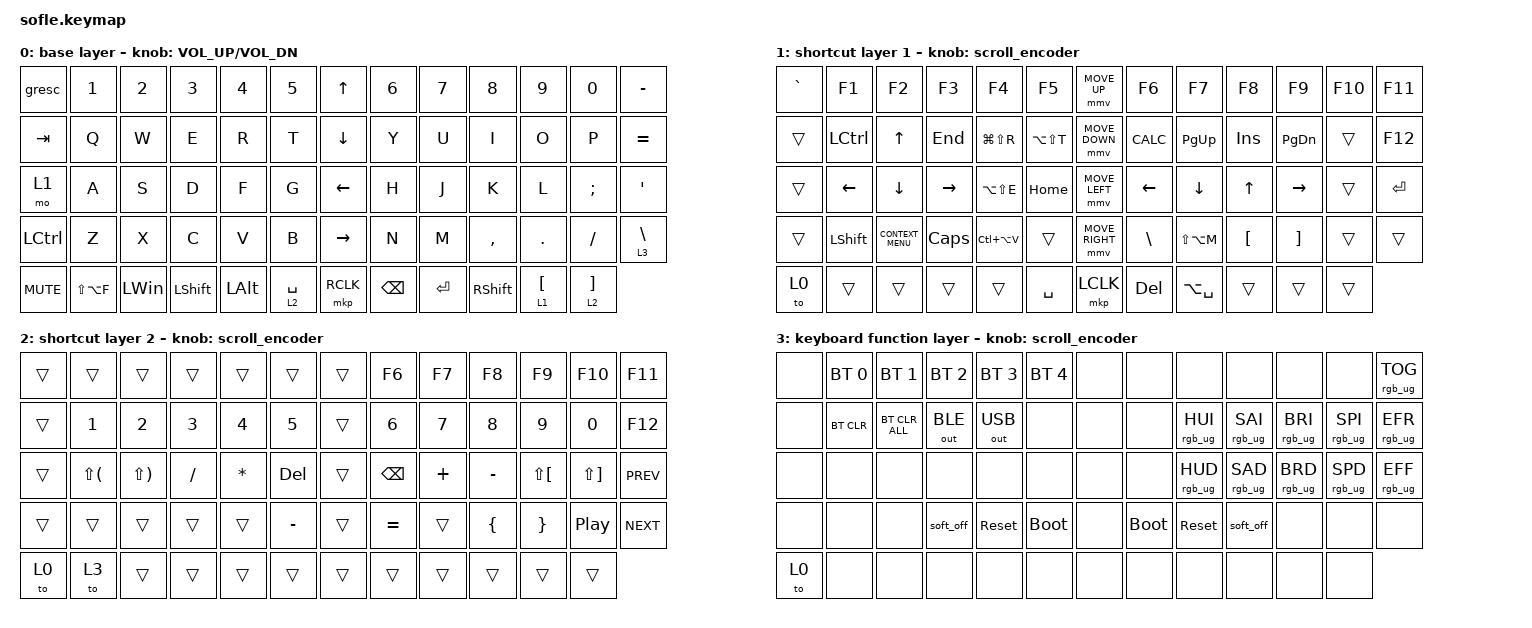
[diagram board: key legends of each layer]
#include <behaviors/mouse_keys.dtsi>
#include <behaviors.dtsi>
#include <dt-bindings/zmk/bt.h>
#include <dt-bindings/zmk/keys.h>
#include <dt-bindings/zmk/mouse.h>
#include <dt-bindings/zmk/outputs.h>
#include <dt-bindings/zmk/rgb.h>

#define ZMK_MOUSE_DEFAULT_MOVE_VAL 1200  // 600
#define ZMK_MOUSE_DEFAULT_SCRL_VAL 20    // 10
#define U_MS_U &mmv MOVE_UP
#define U_MS_D &mmv MOVE_DOWN
#define U_MS_L &mmv MOVE_LEFT
#define U_MS_R &mmv MOVE_RIGHT
#define ZMK_MOUSE_DEFAULT_MOVE_VAL 1200  // 600
#define ZMK_MOUSE_DEFAULT_SCRL_VAL 20    // 10

/ {
    behaviors {
        mmv {
            acceleration-exponent = <1>;     // 1
            time-to-max-speed-ms = <900>;    // 40
            delay-ms = <0>;                  // 0
        };

        msc {
            acceleration-exponent = <1>;      // 0
            time-to-max-speed-ms = <400>;     // 500
            delay-ms = <0>;                   // 10
        };
    };

    scroll_encoder: scroll_encoder {
        compatible = "zmk,behavior-sensor-rotate";
        #sensor-binding-cells = <0>;
        bindings = <&msc SCRL_DOWN>, <&msc SCRL_UP>;

        tap-ms = <30>;
    };

    tap_dance: tap_dance {
        compatible = "zmk,behavior-tap-dance";
        label = "TAP_DANCE";
        #binding-cells = <0>;
        bindings = <&kp LEFT_WIN>, <&kp SPACE>;
    };

    keymap {
        compatible = "zmk,keymap";

        layer0 {
            bindings = <
&gresc      &kp N1         &kp N2        &kp N3          &kp N4        &kp N5         &kp UP     &kp N6         &kp N7     &kp N8           &kp N9              &kp N0               &kp MINUS
&kp TAB     &kp Q          &kp W         &kp E           &kp R         &kp T          &kp DOWN   &kp Y          &kp U      &kp I            &kp O               &kp P                &kp EQUAL
&mo 1       &kp A          &kp S         &kp D           &kp F         &kp G          &kp LEFT   &kp H          &kp J      &kp K            &kp L               &kp SEMI             &kp APOS
&kp LCTRL   &kp Z          &kp X         &kp C           &kp V         &kp B          &kp RIGHT  &kp N          &kp M      &kp COMMA        &kp DOT             &kp FSLH             &lt 3 BACKSLASH
&kp C_MUTE  &kp LS(LA(F))  &kp LEFT_WIN  &kp LEFT_SHIFT  &kp LEFT_ALT  &lt 2 SPACE    &mkp RCLK  &kp BACKSPACE  &kp ENTER  &kp RIGHT_SHIFT  &lt 1 LEFT_BRACKET  &lt 2 RIGHT_BRACKET
            >;

            sensor-bindings = <&inc_dec_kp C_VOLUME_UP C_VOL_DN>;
            display-name = "base layer";
        };

        layer1 {
            bindings = <
&kp GRAVE  &kp F1      &kp F2              &kp F3        &kp F4         &kp F5           &mmv MOVE_UP     &kp F6         &kp F7         &kp F8            &kp F9             &kp F10  &kp F11
&trans     &kp LCTRL   &kp UP              &kp END       &kp LG(LS(R))  &kp LA(LS(T))    &mmv MOVE_DOWN   &kp K_CALC     &kp PAGE_UP    &kp INSERT        &kp PAGE_DOWN      &trans   &kp F12
&trans     &kp LEFT    &kp DOWN            &kp RIGHT     &kp LA(LS(E))  &kp HOME         &mmv MOVE_LEFT   &kp LEFT       &kp DOWN       &kp UP            &kp RIGHT          &trans   &kp ENTER
&trans     &kp LSHIFT  &kp K_CONTEXT_MENU  &kp CAPSLOCK  &kp LC(LA(V))  &trans           &mmv MOVE_RIGHT  &kp BACKSLASH  &kp LS(LA(M))  &kp LEFT_BRACKET  &kp RIGHT_BRACKET  &trans   &trans
&to 0      &trans      &trans              &trans        &trans         &kp SPACE        &mkp LCLK        &kp DELETE     &kp LA(SPACE)  &trans            &trans             &trans
            >;

            sensor-bindings = <&scroll_encoder>;
            display-name = "shortcut layer 1";
        };

        layer2 {
            bindings = <
&trans  &trans        &trans        &trans    &trans    &trans        &trans  &kp F6     &kp F7    &kp F8          &kp F9           &kp F10           &kp F11
&trans  &kp N1        &kp N2        &kp N3    &kp N4    &kp N5        &trans  &kp N6     &kp N7    &kp N8          &kp N9           &kp N0            &kp F12
&trans  &kp LS(LPAR)  &kp LS(RPAR)  &kp FSLH  &kp STAR  &kp DELETE    &trans  &kp BSPC   &kp PLUS  &kp MINUS       &kp LS(LBKT)     &kp LS(RBKT)      &kp C_PREV
&trans  &trans        &trans        &trans    &trans    &kp MINUS     &trans  &kp EQUAL  &trans    &kp LEFT_BRACE  &kp RIGHT_BRACE  &kp C_PLAY_PAUSE  &kp C_NEXT
&to 0   &to 3         &trans        &trans    &trans    &trans        &trans  &trans     &trans    &trans          &trans           &trans
            >;

            sensor-bindings = <&scroll_encoder>;
            display-name = "shortcut layer 2";
        };

        layer3 {
            bindings = <
&none  &bt BT_SEL 0  &bt BT_SEL 1    &bt BT_SEL 2  &bt BT_SEL 3  &bt BT_SEL 4    &none  &none        &none            &none            &none            &none            &rgb_ug RGB_TOG
&none  &bt BT_CLR    &bt BT_CLR_ALL  &out OUT_BLE  &out OUT_USB  &none           &none  &none        &rgb_ug RGB_HUI  &rgb_ug RGB_SAI  &rgb_ug RGB_BRI  &rgb_ug RGB_SPI  &rgb_ug RGB_EFR
&none  &none         &none           &none         &none         &none           &none  &none        &rgb_ug RGB_HUD  &rgb_ug RGB_SAD  &rgb_ug RGB_BRD  &rgb_ug RGB_SPD  &rgb_ug RGB_EFF
&none  &none         &none           &soft_off     &sys_reset    &bootloader     &none  &bootloader  &sys_reset       &soft_off        &none            &none            &none
&to 0  &none         &none           &none         &none         &none           &none  &none        &none            &none            &none            &none
            >;

            sensor-bindings = <&scroll_encoder>;
            display-name = "keyboard function layer";
        };
    };
};
